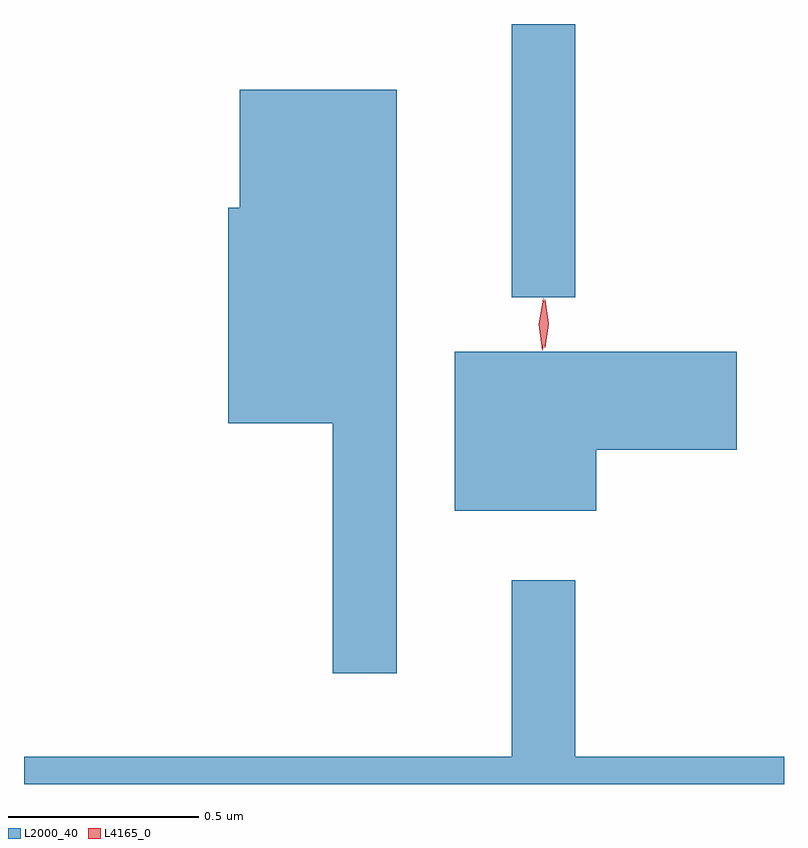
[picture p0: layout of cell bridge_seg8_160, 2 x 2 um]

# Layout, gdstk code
import gdstk
lib = gdstk.Library(unit=1e-6, precision=1e-09)
def R(c, l, rs):  # rectangles x0, y0, x1, y1
    for r in rs: c.add(gdstk.rectangle(r[:2], r[2:], *l))
def P(c, l, *ps):  # polygons
    for p in ps: c.add(gdstk.Polygon(p, *l))
L2000_40 = (2000, 40)
L4165_0 = (4165, 0)

bridge_seg8_160 = lib.new_cell('bridge_seg8_160')
R(bridge_seg8_160, L2000_40, [(1447.371,1891.173,1447.539,1891.892)])
P(bridge_seg8_160, L2000_40, [(1447.069,1891.719),(1446.656,1891.719),(1446.656,1891.409),(1446.626,1891.409),(1446.626,1890.841),(1446.901,1890.841),(1446.901,1890.183),(1447.069,1890.183)],
  [(1447.594,1890.771),(1447.964,1890.771),(1447.964,1891.029),(1447.221,1891.029),(1447.221,1890.611),(1447.594,1890.611)],
  [(1446.088,1889.892),(1448.088,1889.892),(1448.088,1889.964),(1447.539,1889.964),(1447.539,1890.428),(1447.371,1890.428),(1447.371,1889.964),(1446.088,1889.964)])
P(bridge_seg8_160, L4165_0, [(1447.452,1891.034),(1447.452,1891.034),(1447.443,1891.102),(1447.454,1891.169),(1447.454,1891.17),(1447.454,1891.169),(1447.463,1891.102),(1447.453,1891.034)],
  [(1447.459,1891.04),(1447.449,1891.103),(1447.459,1891.166),(1447.459,1891.167),(1447.46,1891.166),(1447.469,1891.103),(1447.46,1891.04),(1447.46,1891.04)])

lib.write_gds('bridge_seg8_160.gds')
